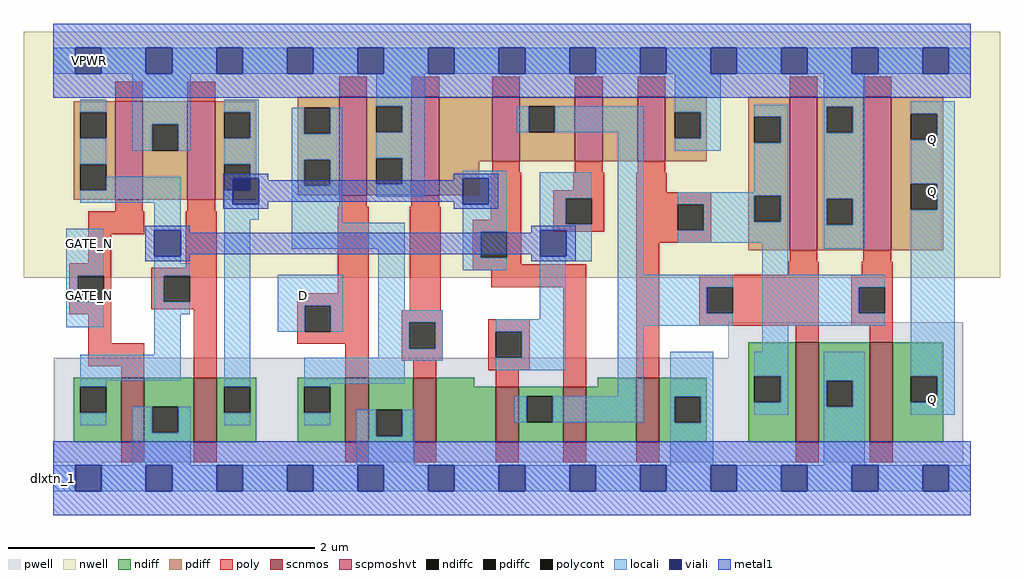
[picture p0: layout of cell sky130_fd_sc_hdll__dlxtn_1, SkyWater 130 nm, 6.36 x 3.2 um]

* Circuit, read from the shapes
.subckt sky130_fd_sc_hdll__dlxtn_1 D GATE_N VGND VNB VPB VPWR Q
XM1 VGND GATE_N n1 VNB sky130_fd_pr__nfet_01v8 w=0.42 l=0.15
XM2 n2 n1 VGND VNB sky130_fd_pr__nfet_01v8 w=0.42 l=0.15
XM3 VGND D n3 VNB sky130_fd_pr__nfet_01v8 w=0.42 l=0.15
XM4 n4 n3 VGND VNB sky130_fd_pr__nfet_01v8 w=0.42 l=0.15
XM5 n5 n1 n4 VNB sky130_fd_pr__nfet_01v8 w=0.36 l=0.15
XM6 n6 n2 n5 VNB sky130_fd_pr__nfet_01v8 w=0.36 l=0.15
XM7 VGND n7 n6 VNB sky130_fd_pr__nfet_01v8 w=0.42 l=0.15
XM8 VGND n5 n7 VNB sky130_fd_pr__nfet_01v8 w=0.65 l=0.15
XM9 Q n7 VGND VNB sky130_fd_pr__nfet_01v8 w=0.65 l=0.15
XM10 VPWR GATE_N n1 VPB sky130_fd_pr__pfet_01v8_hvt w=0.64 l=0.18
XM11 n2 n1 VPWR VPB sky130_fd_pr__pfet_01v8_hvt w=0.64 l=0.18
XM12 VPWR D n3 VPB sky130_fd_pr__pfet_01v8_hvt w=0.64 l=0.18
XM13 n8 n3 VPWR VPB sky130_fd_pr__pfet_01v8_hvt w=0.64 l=0.18
XM14 n5 n2 n8 VPB sky130_fd_pr__pfet_01v8_hvt w=0.42 l=0.18
XM15 n9 n1 n5 VPB sky130_fd_pr__pfet_01v8_hvt w=0.42 l=0.18
XM16 VPWR n7 n9 VPB sky130_fd_pr__pfet_01v8_hvt w=0.42 l=0.18
XM17 VPWR n5 n7 VPB sky130_fd_pr__pfet_01v8_hvt w=1 l=0.18
XM18 Q n7 VPWR VPB sky130_fd_pr__pfet_01v8_hvt w=1 l=0.18
.ends

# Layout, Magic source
magic
tech sky130A
magscale 1 2
<< nwell >>
rect -38 261 1234 582
<< pwell >>
rect 880 157 1186 203
rect 1 21 1186 157
rect 30 -17 64 21
<< scnmos >>
rect 89 47 119 131
rect 183 47 213 131
rect 381 47 411 131
rect 469 47 499 131
rect 577 47 607 119
rect 665 47 695 119
rect 760 47 790 131
rect 968 47 998 177
rect 1064 47 1094 177
<< scpmoshvt >>
rect 81 363 117 491
rect 175 363 211 491
rect 373 369 409 497
rect 467 369 503 497
rect 572 413 608 497
rect 680 413 716 497
rect 762 413 798 497
rect 960 297 996 497
rect 1056 297 1092 497
<< ndiff >>
rect 27 119 89 131
rect 27 85 35 119
rect 69 85 89 119
rect 27 47 89 85
rect 119 93 183 131
rect 119 59 129 93
rect 163 59 183 93
rect 119 47 183 59
rect 213 119 265 131
rect 213 85 223 119
rect 257 85 265 119
rect 213 47 265 85
rect 319 119 381 131
rect 319 85 327 119
rect 361 85 381 119
rect 319 47 381 85
rect 411 89 469 131
rect 411 55 421 89
rect 455 55 469 89
rect 411 47 469 55
rect 499 119 549 131
rect 906 133 968 177
rect 710 119 760 131
rect 499 47 577 119
rect 607 107 665 119
rect 607 73 617 107
rect 651 73 665 107
rect 607 47 665 73
rect 695 47 760 119
rect 790 106 852 131
rect 790 72 810 106
rect 844 72 852 106
rect 790 47 852 72
rect 906 99 914 133
rect 948 99 968 133
rect 906 47 968 99
rect 998 127 1064 177
rect 998 93 1008 127
rect 1042 93 1064 127
rect 998 47 1064 93
rect 1094 133 1160 177
rect 1094 99 1118 133
rect 1152 99 1160 133
rect 1094 47 1160 99
<< pdiff >>
rect 27 477 81 491
rect 27 443 35 477
rect 69 443 81 477
rect 27 409 81 443
rect 27 375 35 409
rect 69 375 81 409
rect 27 363 81 375
rect 117 461 175 491
rect 117 427 129 461
rect 163 427 175 461
rect 117 363 175 427
rect 211 477 265 491
rect 211 443 223 477
rect 257 443 265 477
rect 211 409 265 443
rect 211 375 223 409
rect 257 375 265 409
rect 211 363 265 375
rect 319 483 373 497
rect 319 449 327 483
rect 361 449 373 483
rect 319 415 373 449
rect 319 381 327 415
rect 361 381 373 415
rect 319 369 373 381
rect 409 485 467 497
rect 409 451 421 485
rect 455 451 467 485
rect 409 417 467 451
rect 409 383 421 417
rect 455 383 467 417
rect 409 369 467 383
rect 503 413 572 497
rect 608 485 680 497
rect 608 451 620 485
rect 654 451 680 485
rect 608 413 680 451
rect 716 413 762 497
rect 798 477 852 497
rect 798 443 810 477
rect 844 443 852 477
rect 798 413 852 443
rect 906 471 960 497
rect 906 437 914 471
rect 948 437 960 471
rect 503 369 555 413
rect 906 368 960 437
rect 906 334 914 368
rect 948 334 960 368
rect 906 297 960 334
rect 996 484 1056 497
rect 996 450 1008 484
rect 1042 450 1056 484
rect 996 364 1056 450
rect 996 330 1008 364
rect 1042 330 1056 364
rect 996 297 1056 330
rect 1092 475 1160 497
rect 1092 441 1118 475
rect 1152 441 1160 475
rect 1092 384 1160 441
rect 1092 350 1118 384
rect 1152 350 1160 384
rect 1092 297 1160 350
<< ndiffc >>
rect 35 85 69 119
rect 129 59 163 93
rect 223 85 257 119
rect 327 85 361 119
rect 421 55 455 89
rect 617 73 651 107
rect 810 72 844 106
rect 914 99 948 133
rect 1008 93 1042 127
rect 1118 99 1152 133
<< pdiffc >>
rect 35 443 69 477
rect 35 375 69 409
rect 129 427 163 461
rect 223 443 257 477
rect 223 375 257 409
rect 327 449 361 483
rect 327 381 361 415
rect 421 451 455 485
rect 421 383 455 417
rect 620 451 654 485
rect 810 443 844 477
rect 914 437 948 471
rect 914 334 948 368
rect 1008 450 1042 484
rect 1008 330 1042 364
rect 1118 441 1152 475
rect 1118 350 1152 384
<< poly >>
rect 81 491 117 517
rect 175 491 211 517
rect 373 497 409 523
rect 467 497 503 523
rect 572 497 608 523
rect 680 497 716 523
rect 762 497 798 523
rect 960 497 996 523
rect 1056 497 1092 523
rect 572 398 608 413
rect 680 398 716 413
rect 762 398 798 413
rect 81 348 117 363
rect 175 348 211 363
rect 373 354 409 369
rect 467 354 503 369
rect 46 318 119 348
rect 46 280 76 318
rect 21 264 76 280
rect 173 274 213 348
rect 21 230 32 264
rect 66 230 76 264
rect 21 214 76 230
rect 128 264 213 274
rect 128 230 144 264
rect 178 230 213 264
rect 371 241 411 354
rect 128 220 213 230
rect 46 176 76 214
rect 46 146 119 176
rect 89 131 119 146
rect 183 131 213 220
rect 318 225 411 241
rect 318 191 328 225
rect 362 191 411 225
rect 465 219 505 354
rect 570 337 610 398
rect 678 375 718 398
rect 547 321 610 337
rect 652 365 718 375
rect 652 331 668 365
rect 702 331 718 365
rect 652 321 718 331
rect 760 373 800 398
rect 760 357 858 373
rect 760 323 814 357
rect 848 323 858 357
rect 547 287 557 321
rect 591 287 610 321
rect 547 279 610 287
rect 760 307 858 323
rect 547 271 695 279
rect 571 249 695 271
rect 318 175 411 191
rect 381 131 411 175
rect 454 203 508 219
rect 454 169 464 203
rect 498 169 508 203
rect 454 153 508 169
rect 567 191 621 207
rect 567 157 577 191
rect 611 157 621 191
rect 469 131 499 153
rect 567 141 621 157
rect 577 119 607 141
rect 665 119 695 249
rect 760 131 790 307
rect 960 282 996 297
rect 1056 282 1092 297
rect 958 265 998 282
rect 1054 265 1094 282
rect 842 249 998 265
rect 842 215 852 249
rect 886 215 998 249
rect 842 199 998 215
rect 1040 249 1094 265
rect 1040 215 1050 249
rect 1084 215 1094 249
rect 1040 199 1094 215
rect 968 177 998 199
rect 1064 177 1094 199
rect 89 21 119 47
rect 183 21 213 47
rect 381 21 411 47
rect 469 21 499 47
rect 577 21 607 47
rect 665 21 695 47
rect 760 21 790 47
rect 968 21 998 47
rect 1064 21 1094 47
<< polycont >>
rect 32 230 66 264
rect 144 230 178 264
rect 328 191 362 225
rect 668 331 702 365
rect 814 323 848 357
rect 557 287 591 321
rect 464 169 498 203
rect 577 157 611 191
rect 852 215 886 249
rect 1050 215 1084 249
<< locali >>
rect 0 527 29 561
rect 63 527 121 561
rect 155 527 213 561
rect 247 527 305 561
rect 339 527 397 561
rect 431 527 489 561
rect 523 527 581 561
rect 615 527 673 561
rect 707 527 765 561
rect 799 527 857 561
rect 891 527 949 561
rect 983 527 1041 561
rect 1075 527 1133 561
rect 1167 527 1196 561
rect 35 477 69 493
rect 35 409 69 443
rect 103 461 179 527
rect 103 427 129 461
rect 163 427 179 461
rect 223 477 268 493
rect 421 485 484 527
rect 257 443 268 477
rect 223 409 268 443
rect 69 375 166 393
rect 35 359 166 375
rect 17 264 66 325
rect 17 230 32 264
rect 17 197 66 230
rect 132 323 166 359
rect 132 280 166 289
rect 257 391 268 409
rect 223 357 234 375
rect 223 337 268 357
rect 311 449 327 483
rect 361 449 377 483
rect 311 415 377 449
rect 311 381 327 415
rect 361 381 377 415
rect 132 264 178 280
rect 132 230 144 264
rect 132 214 178 230
rect 132 161 166 214
rect 35 127 166 161
rect 35 119 69 127
rect 223 119 257 337
rect 311 333 377 381
rect 455 451 484 485
rect 604 451 620 485
rect 654 451 770 485
rect 421 417 484 451
rect 455 383 484 417
rect 421 367 484 383
rect 534 391 591 401
rect 568 357 591 391
rect 311 299 458 333
rect 293 225 378 265
rect 293 191 328 225
rect 362 191 378 225
rect 424 219 458 299
rect 534 321 591 357
rect 534 287 557 321
rect 534 271 591 287
rect 634 365 702 399
rect 634 331 668 365
rect 634 323 702 331
rect 634 289 635 323
rect 669 289 702 323
rect 634 283 702 289
rect 424 203 508 219
rect 634 207 668 283
rect 424 169 464 203
rect 498 169 508 203
rect 424 157 508 169
rect 35 69 69 85
rect 103 59 129 93
rect 163 59 179 93
rect 223 69 257 85
rect 327 153 508 157
rect 577 191 668 207
rect 611 157 668 191
rect 327 123 458 153
rect 577 141 668 157
rect 736 265 770 451
rect 810 477 870 527
rect 844 443 870 477
rect 810 427 870 443
rect 914 471 958 487
rect 948 437 958 471
rect 914 373 958 437
rect 814 368 958 373
rect 814 357 914 368
rect 848 334 914 357
rect 948 334 958 368
rect 848 323 958 334
rect 814 307 958 323
rect 924 265 958 307
rect 1004 484 1058 527
rect 1004 450 1008 484
rect 1042 450 1058 484
rect 1004 364 1058 450
rect 1004 330 1008 364
rect 1042 330 1058 364
rect 1004 299 1058 330
rect 1118 475 1175 491
rect 1152 441 1175 475
rect 1118 384 1175 441
rect 1152 350 1175 384
rect 736 249 886 265
rect 736 215 852 249
rect 736 199 886 215
rect 924 249 1084 265
rect 924 215 1050 249
rect 924 199 1084 215
rect 327 119 361 123
rect 736 107 770 199
rect 924 165 958 199
rect 327 69 361 85
rect 103 17 179 59
rect 395 55 421 89
rect 455 55 471 89
rect 601 73 617 107
rect 651 73 770 107
rect 804 106 860 165
rect 395 17 471 55
rect 804 72 810 106
rect 844 72 860 106
rect 914 133 958 165
rect 948 99 958 133
rect 914 83 958 99
rect 1004 127 1058 165
rect 1004 93 1008 127
rect 1042 93 1058 127
rect 804 17 860 72
rect 1004 17 1058 93
rect 1118 133 1175 350
rect 1152 99 1175 133
rect 1118 83 1175 99
rect 0 -17 29 17
rect 63 -17 121 17
rect 155 -17 213 17
rect 247 -17 305 17
rect 339 -17 397 17
rect 431 -17 489 17
rect 523 -17 581 17
rect 615 -17 673 17
rect 707 -17 765 17
rect 799 -17 857 17
rect 891 -17 949 17
rect 983 -17 1041 17
rect 1075 -17 1133 17
rect 1167 -17 1196 17
<< viali >>
rect 29 527 63 561
rect 121 527 155 561
rect 213 527 247 561
rect 305 527 339 561
rect 397 527 431 561
rect 489 527 523 561
rect 581 527 615 561
rect 673 527 707 561
rect 765 527 799 561
rect 857 527 891 561
rect 949 527 983 561
rect 1041 527 1075 561
rect 1133 527 1167 561
rect 132 289 166 323
rect 234 375 257 391
rect 257 375 268 391
rect 234 357 268 375
rect 534 357 568 391
rect 635 289 669 323
rect 29 -17 63 17
rect 121 -17 155 17
rect 213 -17 247 17
rect 305 -17 339 17
rect 397 -17 431 17
rect 489 -17 523 17
rect 581 -17 615 17
rect 673 -17 707 17
rect 765 -17 799 17
rect 857 -17 891 17
rect 949 -17 983 17
rect 1041 -17 1075 17
rect 1133 -17 1167 17
<< metal1 >>
rect 0 561 1196 592
rect 0 527 29 561
rect 63 527 121 561
rect 155 527 213 561
rect 247 527 305 561
rect 339 527 397 561
rect 431 527 489 561
rect 523 527 581 561
rect 615 527 673 561
rect 707 527 765 561
rect 799 527 857 561
rect 891 527 949 561
rect 983 527 1041 561
rect 1075 527 1133 561
rect 1167 527 1196 561
rect 0 496 1196 527
rect 222 391 280 397
rect 222 357 234 391
rect 268 388 280 391
rect 522 391 580 397
rect 522 388 534 391
rect 268 360 534 388
rect 268 357 280 360
rect 222 351 280 357
rect 522 357 534 360
rect 568 357 580 391
rect 522 351 580 357
rect 120 323 178 329
rect 120 289 132 323
rect 166 320 178 323
rect 623 323 681 329
rect 623 320 635 323
rect 166 292 635 320
rect 166 289 178 292
rect 120 283 178 289
rect 623 289 635 292
rect 669 289 681 323
rect 623 283 681 289
rect 0 17 1196 48
rect 0 -17 29 17
rect 63 -17 121 17
rect 155 -17 213 17
rect 247 -17 305 17
rect 339 -17 397 17
rect 431 -17 489 17
rect 523 -17 581 17
rect 615 -17 673 17
rect 707 -17 765 17
rect 799 -17 857 17
rect 891 -17 949 17
rect 983 -17 1041 17
rect 1075 -17 1133 17
rect 1167 -17 1196 17
rect 0 -48 1196 -17
<< labels >>
rlabel comment s 0 0 0 0 4 dlxtn_1
flabel metal1 s 30 -17 64 17 0 FreeSans 200 0 0 0 VGND
port 3 nsew ground bidirectional
flabel metal1 s 30 527 64 561 0 FreeSans 200 0 0 0 VPWR
port 6 nsew power bidirectional
flabel locali s 1129 85 1163 119 0 FreeSans 200 0 0 0 Q
port 7 nsew signal output
flabel locali s 1129 425 1163 459 0 FreeSans 200 0 0 0 Q
port 7 nsew signal output
flabel locali s 30 289 64 323 0 FreeSans 200 0 0 0 GATE_N
port 2 nsew signal input
flabel locali s 1129 357 1163 391 0 FreeSans 200 0 0 0 Q
port 7 nsew signal output
flabel locali s 30 221 64 255 0 FreeSans 200 0 0 0 GATE_N
port 2 nsew signal input
flabel locali s 309 221 343 255 0 FreeSans 200 0 0 0 D
port 1 nsew signal input
flabel nwell s 30 527 64 561 0 FreeSans 200 0 0 0 VPB
port 5 nsew power bidirectional
flabel pwell s 30 -17 64 17 0 FreeSans 200 0 0 0 VNB
port 4 nsew ground bidirectional
<< properties >>
string LEFsite unithd
string LEFclass CORE
string FIXED_BBOX 0 0 1196 544
string GDS_FILE $PDKPATH/libs.ref/sky130_fd_sc_hdll/gds/sky130_fd_sc_hdll.gds
string LEFsymmetry X Y R90
string GDS_END 1203608
string GDS_START 1193790
string LEFproperties maskLayoutSubType "abstract" prCellType "standard" originalViewName "layout"
<< end >>
